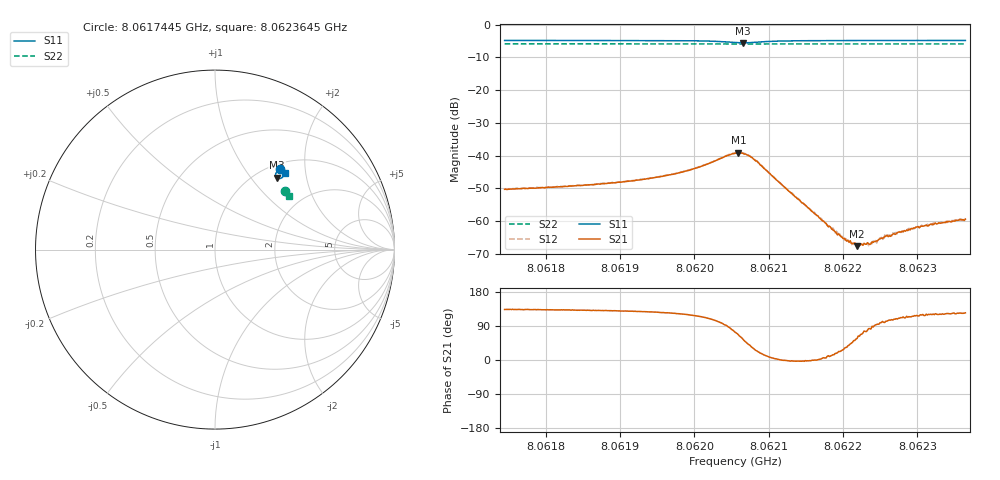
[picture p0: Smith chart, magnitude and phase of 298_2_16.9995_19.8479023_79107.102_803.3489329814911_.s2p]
#  HZ  S  RI  R  50.00
! Rohde & Schwarz Vector Network Analyzer
! Rohde-Schwarz,ZNB20-2Port,1311601062101988,3.16
! Created: UTC 3/20/2024, 11:05:23 PM
! freq[Hz]  re:S11  im:S11  re:S21  im:S21  re:S12  im:S12  re:S22  im:S22
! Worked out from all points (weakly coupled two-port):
!   401 points, 8.0617445 GHz to 8.0623645 GHz, reference 50 ohm
!   highest |S21| = -39.16 dB at 8.0620592 GHz (marker M1); lowest = -67.7 dB at 8.0622188 GHz (marker M2)
!   lowest |S11| = -5.5 dB at 8.0620654 GHz (marker M3), VSWR 3.25, Z = 61.1 + j68 ohm
!   |S11| at or under -10 dB: nowhere
!   |S22| runs from -5.9 to -5.8 dB; largest |S21 - S12| = 0.00091
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8.0617445e9  0.3608 0.4489  -0.00209 0.00222  -0.002 0.00233  0.3926 0.3272
8.06184835e9  0.3683 0.4425  -0.00232 0.00262  -0.00218 0.00278  0.3966 0.3221
8.06189796e9  0.3721 0.4386  -0.0025 0.003  -0.00232 0.00319  0.3984 0.3197
8.06195221e9  0.3766 0.4329  -0.00275 0.00384  -0.00257 0.00401  0.4005 0.3167
8.06199871e9  0.3807 0.4232  -0.00291 0.00556  -0.00258 0.00576  0.4022 0.314
8.06205452e9  0.3602 0.3958  0.00306 0.0104  0.00364 0.0103  0.403 0.3105
8.06205917e9  0.3535 0.3965  0.00445 0.0101  0.00508 0.00984  0.4027 0.3105
8.06206537e9  0.3454 0.4008  0.00629 0.00877  0.00692 0.00848  0.4027 0.3105
8.06207467e9  0.3383 0.4124  0.0076 0.00612  0.00817 0.00548  0.4028 0.3106
8.06208397e9  0.3387 0.4242  0.00753 0.00334  0.00771 0.00282  0.4033 0.3106
8.06215837e9  0.3676 0.4385  0.00139 -1.2e-05  0.00139 -0.000141  0.4073 0.3075
8.06218163e9  0.3715 0.4371  0.000822 0.000133  0.000776 8.1e-05  0.4082 0.3063
8.06220023e9  0.3741 0.4358  0.000476 0.000244  0.000474 0.00023  0.409 0.3051
8.06221263e9  0.3755 0.4351  0.000313 0.000331  0.000316 0.000264  0.4096 0.3046
8.06221883e9  0.3762 0.4345  0.000225 0.000347  0.000256 0.000361  0.4097 0.3042
8.06223588e9  0.378 0.4335  5.31e-05 0.000433  5.49e-05 0.000434  0.4103 0.3034
8.06224983e9  0.3793 0.4326  -7.82e-05 0.000527  -7.94e-05 0.000543  0.4107 0.3027
8.06226223e9  0.3804 0.4319  -0.00016 0.000571  -0.000139 0.000595  0.4112 0.302
8.06228548e9  0.3822 0.4306  -0.000311 0.000654  -0.00024 0.000691  0.4122 0.3008
8.06229788e9  0.3832 0.4298  -0.000358 0.000718  -0.000323 0.000736  0.4126 0.3001
8.06232423e9  0.3852 0.4282  -0.000495 0.000786  -0.000426 0.000825  0.4135 0.2988
8.06236454e9  0.388 0.4259  -0.000602 0.000879  -0.000535 0.000963  0.415 0.2968
